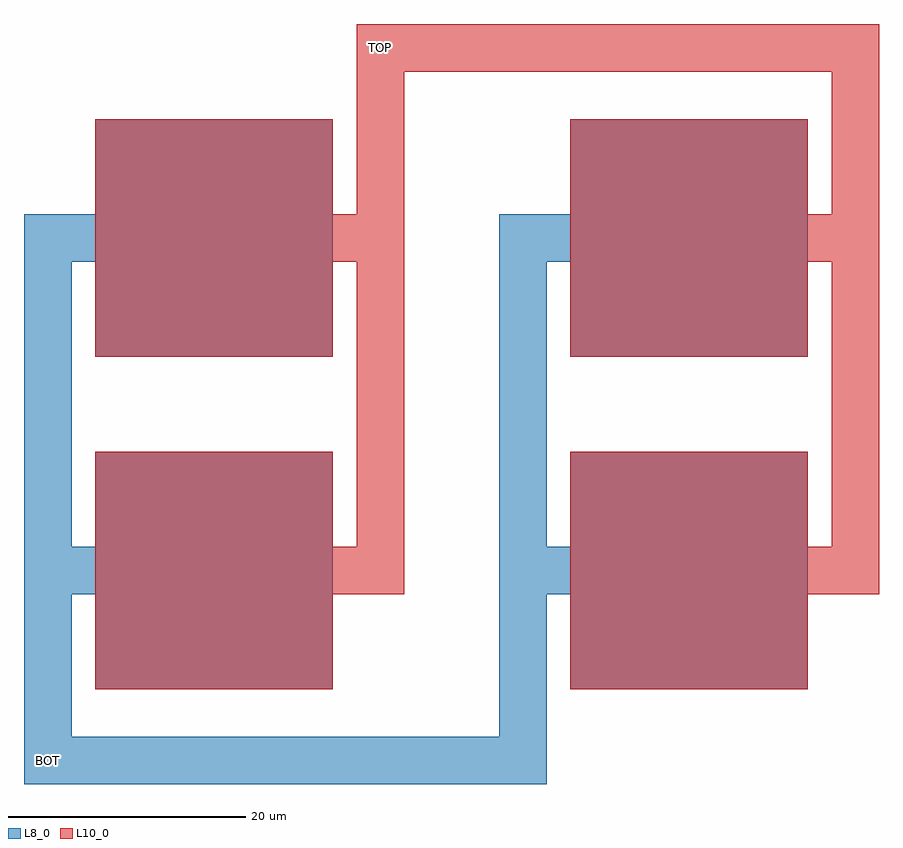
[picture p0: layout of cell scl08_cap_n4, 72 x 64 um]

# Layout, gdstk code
import gdstk
lib = gdstk.Library(unit=1e-6, precision=1e-09)
def R(c, l, rs):  # rectangles x0, y0, x1, y1
    for r in rs: c.add(gdstk.rectangle(r[:2], r[2:], *l))
L8_0 = (8, 0)
L10_0 = (10, 0)

scl08_cap_n4 = lib.new_cell('scl08_cap_n4')
R(scl08_cap_n4, L8_0, [(-6,-8,-2,40), (-6,-8,38,-4), (34,-8,38,40), (0,0,20,20), (40,0,60,20), (-6,8,0,12), (34,8,40,12), (0,28,20,48), (40,28,60,48), (-6,36,0,40), (34,36,40,40)])
R(scl08_cap_n4, L10_0, [(0,0,20,20), (40,0,60,20), (20,8,26,12), (22,8,26,56), (60,8,66,12), (62,8,66,56), (0,28,20,48), (40,28,60,48), (20,36,26,40), (60,36,66,40), (22,52,66,56)])
scl08_cap_n4.add(gdstk.Label('BOT', (-4,-6), layer=8, texttype=7))
scl08_cap_n4.add(gdstk.Label('TOP', (24,54), layer=10, texttype=7))

lib.write_gds('scl08_cap_n4.gds')
